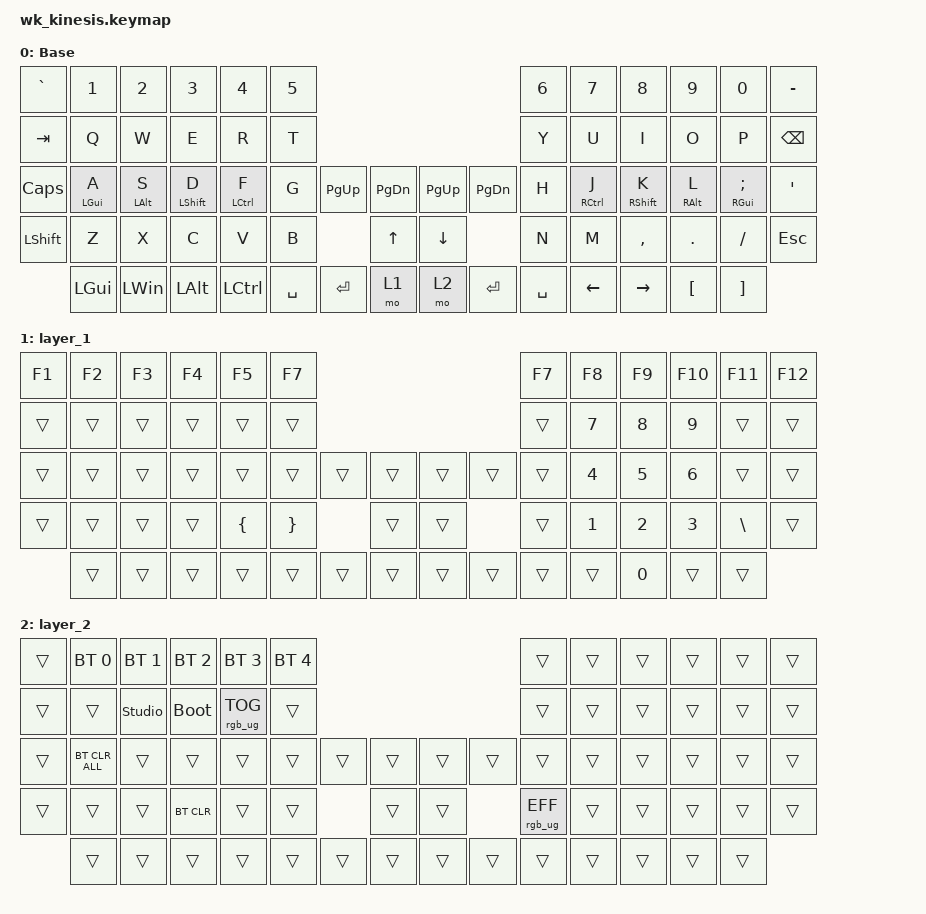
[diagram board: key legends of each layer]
#include <dt-bindings/zmk/mouse.h>
#include <behaviors.dtsi>
#include <dt-bindings/zmk/bt.h>
#include <dt-bindings/zmk/keys.h>
#include <dt-bindings/zmk/rgb.h>

/ {
    behaviors {
        hm: homerow_mods {
            compatible = "zmk,behavior-hold-tap";
            label = "HOMEROW_MODS";
            #binding-cells = <2>;
            require-prior-idle-ms = <150>;
            tapping-term-ms = <200>;
            quick_tap_ms = <175>;
            flavor = "tap-preferred";
            hold-while-undecided;
            hold-trigger-on-release;
            bindings = <&kp>, <&kp>;
        };
    };
    keymap {
        compatible = "zmk,keymap";

        default_layer {
            display-name = "Base";
            bindings = <
&kp GRAVE  &kp N1        &kp N2          &kp N3            &kp N4              &kp N5                                                                                  &kp N6  &kp N7               &kp N8           &kp N9            &kp N0              &kp MINUS
&kp TAB    &kp Q         &kp W           &kp E             &kp R               &kp T                                                                                   &kp Y   &kp U                &kp I            &kp O             &kp P               &kp BACKSPACE
&kp CAPS   &hm LGUI A    &hm LEFT_ALT S  &hm LEFT_SHIFT D  &hm LEFT_CONTROL F  &kp G              &kp PG_UP  &kp PAGE_DOWN      &kp PAGE_UP  &kp PAGE_DOWN             &kp H   &hm RIGHT_CONTROL J  &hm RSHIFT K     &hm RIGHT_ALT L   &hm RIGHT_GUI SEMI  &kp SQT
&kp LSHFT  &kp Z         &kp X           &kp C             &kp V               &kp B                         &kp UP_ARROW       &kp DOWN                               &kp N   &kp M                &kp COMMA        &kp DOT           &kp FSLH            &kp ESC
           &kp LEFT_GUI  &kp LWIN        &kp LEFT_ALT      &kp LEFT_CONTROL            &kp SPACE  &kp ENTER  &mo 1              &mo 2        &kp ENTER      &kp SPACE          &kp LEFT_ARROW       &kp RIGHT_ARROW  &kp LEFT_BRACKET  &kp RIGHT_BRACKET
            >;
        };

        layer_1 {
            bindings = <
&kp F1  &kp F2  &kp F3  &kp F4  &kp F5          &kp F7                                                               &kp F7  &kp F8        &kp F9        &kp F10       &kp F11        &kp F12
&trans  &trans  &trans  &trans  &trans          &trans                                                               &trans  &kp N7        &kp N8        &kp N9        &trans         &trans
&trans  &trans  &trans  &trans  &trans          &trans                   &trans  &trans      &trans  &trans          &trans  &kp NUMBER_4  &kp N5        &kp NUMBER_6  &trans         &trans
&trans  &trans  &trans  &trans  &kp LEFT_BRACE  &kp RIGHT_BRACE                  &trans      &trans                  &trans  &kp NUMBER_1  &kp NUMBER_2  &kp NUMBER_3  &kp BACKSLASH  &trans
        &trans  &trans  &trans  &trans                           &trans  &trans  &trans      &trans  &trans  &trans          &trans        &kp N0        &trans        &trans
            >;
        };

        layer_2 {
            bindings = <
&trans  &bt BT_SEL 0    &bt BT_SEL 1  &bt BT_SEL 2  &bt BT_SEL 3     &bt BT_SEL 4                                                      &trans           &trans  &trans  &trans  &trans  &trans
&trans  &trans          &studio_unlock        &bootloader   &rgb_ug RGB_TOG  &trans                                                            &trans           &trans  &trans  &trans  &trans  &trans
&trans  &bt BT_CLR_ALL  &trans        &trans        &trans           &trans                &trans  &trans      &trans  &trans          &trans           &trans  &trans  &trans  &trans  &trans
&trans  &trans          &trans        &bt BT_CLR    &trans           &trans                        &trans      &trans                  &rgb_ug RGB_EFF  &trans  &trans  &trans  &trans  &trans
        &trans          &trans        &trans        &trans                         &trans  &trans  &trans      &trans  &trans  &trans                   &trans  &trans  &trans  &trans
            >;
        };

    };
};

